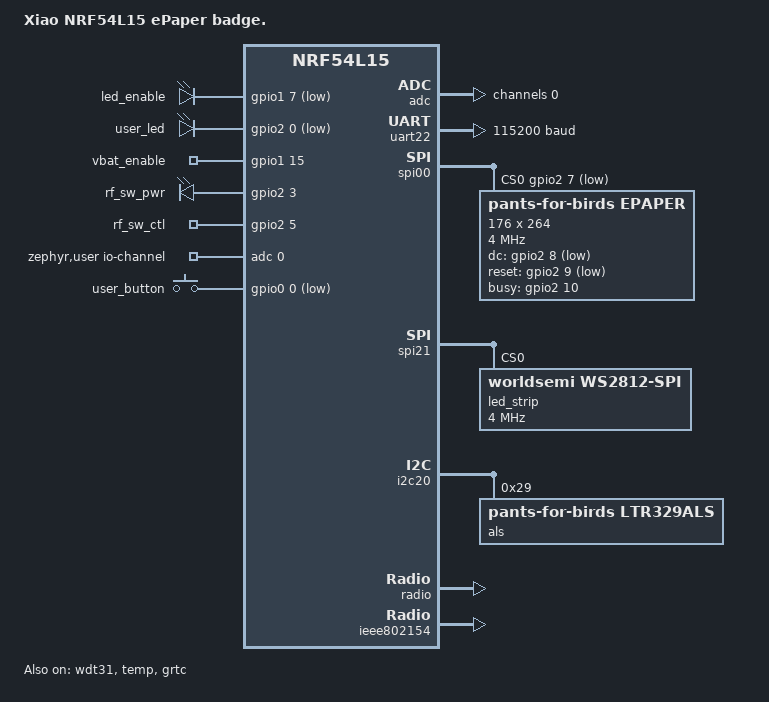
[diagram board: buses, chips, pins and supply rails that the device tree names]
/dts-v1/;

#include <nordic/nrf54l15_cpuapp.dtsi>
#include "vibamix_xiao-pinctrl.dtsi"
#include <zephyr/dt-bindings/led/led.h>
#include <zephyr/dt-bindings/adc/adc.h>
#include <zephyr/dt-bindings/adc/nrf-saadc.h>

/ {
	model = "Xiao NRF54L15 ePaper badge.";
	compatible = "pants_for_birds,vibamix-xiao-cpuapp";

	chosen {
		/* Default app build links into slot A. The slot-B build overrides this
		 * via boards/.../slotb.overlay (direct-XIP A/B). */
		zephyr,code-partition = &slot_a_partition;
		zephyr,sram = &cpuapp_sram;
		zephyr,flash = &cpuapp_rram;
		zephyr,flash-controller = &rram_controller;
		zephyr,console = &uart22;
		zephyr,settings-partition = &storage_partition;
	};

	/* LED strip power enable - active low */
	leds {
		compatible = "gpio-leds";
		led_enable: led_enable {
			gpios = <&gpio1 7 GPIO_ACTIVE_LOW>;    /* P1.07 LED_ENABLE */
		};
		user_led: user_led {
			gpios = <&gpio2 0 GPIO_ACTIVE_LOW>;    /* P2.00 USER_LED  */
		};
		/* TPS22916 load switch enabling the battery-voltage divider.
		 * Drive active only while sampling the battery (it powers the 10K/10K
		 * divider on the AIN7 net) — see src/battery.c. */
		vbat_enable: vbat_enable {
			gpios = <&gpio1 15 GPIO_ACTIVE_HIGH>;  /* P1.15 VBAT_EN */
		};
		/* Antenna RF switch (U10, FM8625H). VDD must be powered for the switch
		 * to pass signal; VCTL selects the port:
		 *   RF_SW_CTL LOW  -> RF1 -> ANT1 (onboard chip antenna)
		 *   RF_SW_CTL HIGH -> RF2 -> ANT2 (external antenna)
		 * Driven active at boot in main() to select the external antenna. */
		rf_sw_pwr: rf_sw_pwr {
			gpios = <&gpio2 3 GPIO_ACTIVE_HIGH>;   /* P2.03 RF_SW_PWR */
		};
		rf_sw_ctl: rf_sw_ctl {
			gpios = <&gpio2 5 GPIO_ACTIVE_HIGH>;   /* P2.05 RF_SW_CTL */
		};
	};

	/* Battery voltage monitor: VBAT -> load switch -> 10K/10K divider -> P1.14 (AIN7).
	 * battery_mV = AIN7_mV * 2. */
	zephyr,user {
		io-channels = <&adc 0>;
	};

	buttons {
		compatible = "gpio-keys";
		user_button: user_button {
			/* External pullup — no GPIO_PULL_UP flag */
			gpios = <&gpio0 0 GPIO_ACTIVE_LOW>;    /* P0.00 USER_KEY  */
		};
	};

	aliases {
		led-strip   = &led_strip;
		epaper      = &epaper;
		user-led    = &user_led;
		user-button = &user_button;
		watchdog0   = &wdt31;
	};
};

/* Watchdog for the custom OTA rollback: the bootloader arms it before jumping;
 * the app feeds it and (PAUSE_IN_SLEEP) it stops during System OFF. See src/ota.c. */
&wdt31 {
	status = "okay";
};

/* Battery-voltage ADC on AIN7 (P1.14). The nRF54L15 SAADC internal reference is
 * 0.9 V and (unlike the nRF52) has no 1/6 gain, so use gain 1/4 -> 0..3.6 V full
 * scale, covering the ~1.5..2.1 V divider output for a 1S LiPo (3.0..4.2 V).
 * (ADC_GAIN_1_6 + 600 mV here silently failed adc_channel_setup -> "--V".) */
&adc {
	#address-cells = <1>;
	#size-cells = <0>;
	status = "okay";

	channel@0 {
		reg = <0>;
		zephyr,gain = "ADC_GAIN_1_4";
		zephyr,reference = "ADC_REF_INTERNAL";
		zephyr,vref-mv = <900>;
		zephyr,acquisition-time = <ADC_ACQ_TIME_DEFAULT>;
		zephyr,input-positive = <NRF_SAADC_AIN7>;   /* P1.14 divider midpoint */
		zephyr,resolution = <12>;
	};
};

/* Logging UART */
&uart22 {
	compatible = "nordic,nrf-uarte";
	status = "okay";
	pinctrl-0 = <&uart22_default>;
	pinctrl-1 = <&uart22_sleep>;
	pinctrl-names = "default", "sleep";
	current-speed = <115200>;
};

/* ePaper display on SPI00 (high-speed SERIAL00).
 * NOT on spi20: spi20 and i2c20 are the same SERIAL20 hardware block and are
 * mutually exclusive, so the display would clash with the light sensor on i2c20.
 * spi00 is the free high-speed SPIM and reaches the same P2.01/P2.02 pins, so the
 * ePaper lives here and the sensor keeps SERIAL20 — both run concurrently.
 */
&spi00 {
	compatible = "nordic,nrf-spim";
	status = "okay";
	pinctrl-0 = <&spi00_default>;
	pinctrl-1 = <&spi00_sleep>;
	pinctrl-names = "default", "sleep";
	cs-gpios = <&gpio2 7 GPIO_ACTIVE_LOW>;        /* P2.07 SCREEN_CS  */

	epaper: epaper@0 {
		compatible = "pants-for-birds,epaper";
		reg = <0>;
		spi-max-frequency = <4000000>;
		width = <176>;
		height = <264>;
		dc-gpios = <&gpio2 8 GPIO_ACTIVE_LOW>;    /* P2.08 SCREEN_D/C  */
		reset-gpios = <&gpio2 9 GPIO_ACTIVE_LOW>;    /* P2.09 SCREEN_RES  */
		busy-gpios = <&gpio2 10 GPIO_ACTIVE_HIGH>;    /* P2.10 SCREEN_BUSY */
	};
};

/* WS2812 LED strip on SPI21 - only MOSI (P1.06) is physically connected */
&spi21 {
	compatible = "nordic,nrf-spim";
	status = "okay";
	pinctrl-0 = <&spi21_default>;
	pinctrl-1 = <&spi21_sleep>;
	pinctrl-names = "default", "sleep";

	led_strip: ws2812@0 {
		compatible = "worldsemi,ws2812-spi";
		reg = <0>;
		/* 4 MHz: one SPI bit = 250 ns, so the frame patterns below give a
		 * 750 ns "1" pulse (T1H) and 250 ns "0" pulse (T0H). The 0x70/0x40
		 * pair is ONLY valid at 4 MHz — at 8 MHz the "1" pulse halves to
		 * 375 ns and every WS2812 bit decodes as 0 (all LEDs stay dark).
		 */
		spi-max-frequency = <DT_FREQ_M(4)>;
		chain-length = <4>;            /* D4-D7 WS2812B chain */
		color-mapping = <LED_COLOR_ID_GREEN
		LED_COLOR_ID_RED
		LED_COLOR_ID_BLUE>;
		spi-one-frame = <0x70>;        /* 0b01110000: 750 ns high @ 4 MHz */
		spi-zero-frame = <0x40>;       /* 0b01000000: 250 ns high @ 4 MHz */
	};
};

/* Light sensor I2C bus (SERIAL20). Free to use now that the ePaper moved off
 * spi20 to the high-speed spi00 — see the ePaper node above.
 */
&i2c20 {
	compatible = "nordic,nrf-twim";
	status = "okay";
	pinctrl-0 = <&i2c20_default>;
	pinctrl-1 = <&i2c20_sleep>;
	pinctrl-names = "default", "sleep";

	als: ltr329als@29 {
		compatible = "pants-for-birds,ltr329als";
		reg = <0x29>;
		status = "okay";
	};
};

&lfxo {
	load-capacitors = "internal";
	load-capacitance-femtofarad = <15000>;
};

&hfxo {
	load-capacitors = "internal";
	load-capacitance-femtofarad = <15000>;
};

&clock {
	status = "okay";
};

&radio {
	status = "okay";
};

&ieee802154 {
	status = "okay";
};

&temp {
	status = "okay";
};

&gpio0 {
	status = "okay";
};

&gpio1 {
	status = "okay";
};

&gpio2 {
	status = "okay";
};

&gpiote20 {
	status = "okay";
};

&gpiote30 {
	status = "okay";
};

&grtc {
	owned-channels = <0 1 2 3 4 5 6 7 8 9 10 11>;
	/* Channels 7-11 reserved for Zero Latency IRQs, 3-4 for FLPR */
	child-owned-channels = <3 4 7 8 9 10 11>;
	status = "okay";
};

&cpuapp_sram {
	status = "okay";
};

&cpuapp_rram {
	partitions {
		compatible = "fixed-partitions";
		#address-cells = <1>;
		#size-cells = <1>;

		/* Custom direct-XIP A/B layout (no MCUboot). The first-stage bootloader
		 * lives at 0x0 and CRC-verifies + chain-loads slot_a or slot_b; the app
		 * is built twice, linked per slot. See firmware/bootloader/ + src/ota.c. */
		bootloader_partition: partition@0 {
			label = "bootloader";
			reg = <0x0 DT_SIZE_K(48)>;
		};

		/* Bootloader metadata (per-slot valid/confirmed/version/attempts), written
		 * as a 32-byte append log; 2x 4K sectors for wear. See common/bl_state.c. */
		bl_state_partition: partition@c000 {
			label = "bl_state";
			reg = <0xc000 DT_SIZE_K(8)>;
		};

		slot_a_partition: partition@e000 {
			label = "image-a";
			reg = <0xe000 DT_SIZE_K(512)>;
		};

		slot_b_partition: partition@8e000 {
			label = "image-b";
			reg = <0x8e000 DT_SIZE_K(512)>;
		};

		/* Five 16K image slots (raw flash via flash_area; see src/badge_store.c):
		 * four user image frames (slots 0..3) plus the identity image (slot 4).
		 * Each slot holds a 2-bit grayscale (11616 B) or 1-bit B/W (5808 B) image
		 * plus a 16-byte header. */
		images_partition: partition@10e000 {
			label = "images";
			reg = <0x10e000 DT_SIZE_K(80)>;
		};

		storage_partition: partition@122000 {
			label = "storage";
			reg = <0x122000 DT_SIZE_K(264)>;
		};

		/* Per-unit factory record (assigned + written once at manufacturing by
		 * firmware/flashtool/; read-only at runtime via src/factory_id.c). Holds
		 * the badge's unique 15-bit id so the mesh unicast address / config code /
		 * GAP name don't collide across a large fleet. Kept at the flash tail so
		 * `storage` keeps its offset. */
		factory_partition: partition@164000 {
			label = "factory";
			reg = <0x164000 DT_SIZE_K(4)>;
		};
	};
};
